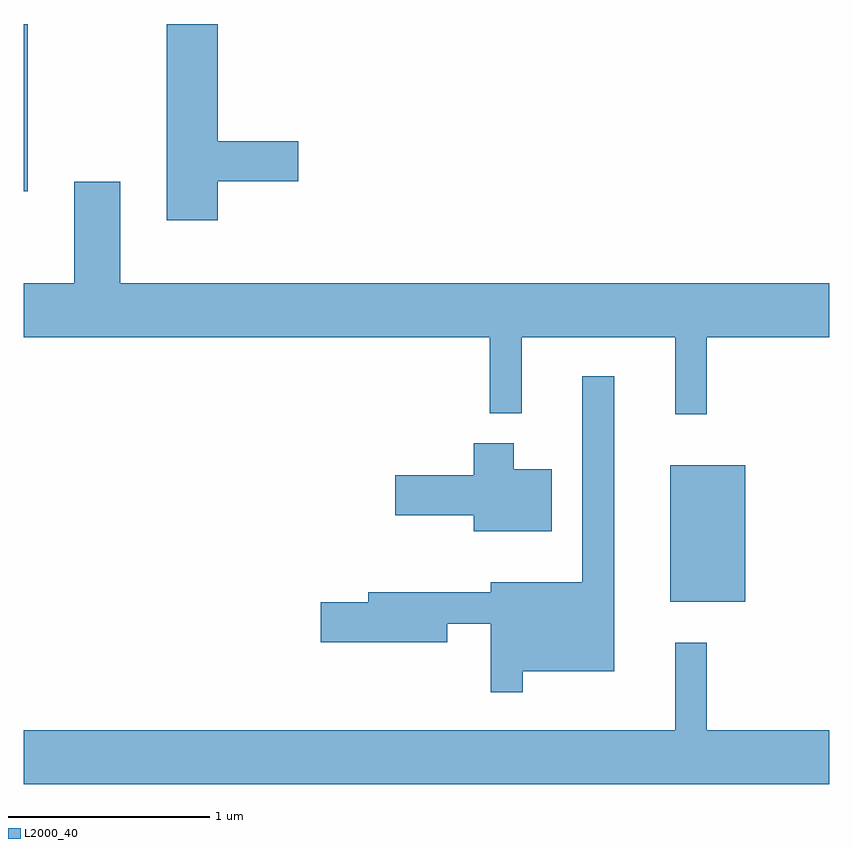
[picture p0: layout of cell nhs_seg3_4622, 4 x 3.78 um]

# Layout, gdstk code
import gdstk
lib = gdstk.Library(unit=1e-6, precision=1e-09)
def R(c, l, rs):  # rectangles x0, y0, x1, y1
    for r in rs: c.add(gdstk.rectangle(r[:2], r[2:], *l))
def P(c, l, *ps):  # polygons
    for p in ps: c.add(gdstk.Polygon(p, *l))
L2000_40 = (2000, 40)

nhs_seg3_4622 = lib.new_cell('nhs_seg3_4622')
R(nhs_seg3_4622, L2000_40, [(322.821,1249.021,323.194,1249.699), (319.611,1251.061,319.629,1251.892)])
P(nhs_seg3_4622, L2000_40, [(320.574,1251.111),(320.974,1251.111),(320.974,1251.309),(320.574,1251.309),(320.574,1251.892),(320.321,1251.892),(320.321,1250.916),(320.574,1250.916)],
  [(323.004,1250.336),(323.611,1250.336),(323.611,1250.604),(320.089,1250.604),(320.089,1251.109),(319.861,1251.109),(319.861,1250.604),(319.611,1250.604),(319.611,1250.336),(321.926,1250.336),(321.926,1249.958),(322.084,1249.958),(322.084,1250.336),(322.846,1250.336),(322.846,1249.953),(323.004,1249.953)],
  [(322.089,1248.676),(322.544,1248.676),(322.544,1250.143),(322.386,1250.143),(322.386,1249.119),(321.931,1249.119),(321.931,1249.069),(321.321,1249.069),(321.321,1249.019),(321.086,1249.019),(321.086,1248.821),(321.714,1248.821),(321.714,1248.911),(321.931,1248.911),(321.931,1248.573),(322.089,1248.573)],
  [(322.234,1249.679),(322.044,1249.679),(322.044,1249.809),(321.846,1249.809),(321.846,1249.649),(321.456,1249.649),(321.456,1249.451),(321.846,1249.451),(321.846,1249.371),(322.234,1249.371)],
  [(323.611,1248.384),(323.004,1248.384),(323.004,1248.818),(322.846,1248.818),(322.846,1248.384),(319.611,1248.384),(319.611,1248.116),(323.611,1248.116)])

lib.write_gds('nhs_seg3_4622.gds')
